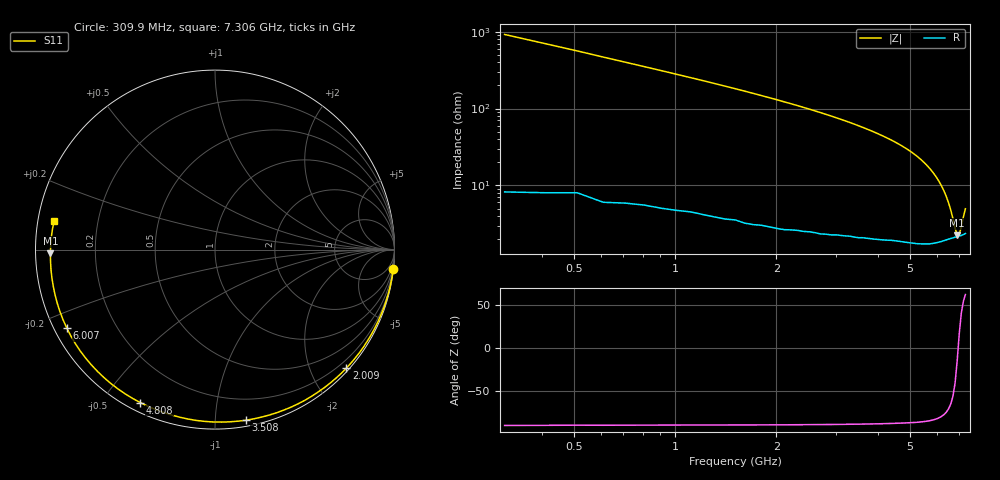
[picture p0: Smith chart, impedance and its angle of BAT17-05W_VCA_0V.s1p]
! Infineon Technologies  Discrete & RF Semiconductors
! BAT17-05W
! VCA = 0 V
! One-Port S-Parameters
# Hz  S  MA  R  50
!f  S11
!Hz  Mag  Ang
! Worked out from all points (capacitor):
!   71 points, 309.9 MHz to 7.306 GHz, reference 50 ohm
!   read as one part to ground: C = 555 fF near 309.9 MHz
!   lowest |Z| = 2.23 ohm at 6.907 GHz (marker M1)
!   series resonance near 6.953 GHz, so ESL is about 940 pH
!   S11 on the Smith chart (normalised r, x): 309.9 MHz: 0, -18; 2.009 GHz: 0.05, -2.59; 3.508 GHz: 0.04, -1.19; 4.808 GHz: 0.04, -0.62; 6.007 GHz: 0.04, -0.25; 7.306 GHz: 0.05, +0.09
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3.0985e8  0.999 -6.2
7.0965e8  0.9964 -14.2
1.2094e9  0.9925 -24.5
1.6092e9  0.9896 -33.1
2.009e9  0.9859 -42.1
2.10895e9  0.9849 -44.5
2.50875e9  0.9797 -54.0
2.70865e9  0.9776 -59.0
3.0085e9  0.9729 -66.7
3.2084e9  0.9701 -71.9
3.50825e9  0.9662 -79.8
3.8081e9  0.9616 -88.0
4.008e9  0.9588 -93.4
4.2079e9  0.9559 -99.0
4.50775e9  0.9517 -107.5
4.70765e9  0.9495 -113.2
4.8076e9  0.9486 -116.1
5.0075e9  0.9468 -121.9
5.2074e9  0.9451 -127.9
5.6072e9  0.9406 -139.9
5.8071e9  0.9379 -146.0
6.007e9  0.9344 -152.2
6.2069e9  0.9305 -158.2
6.50675e9  0.924 -167.2
6.70665e9  0.9206 -173.0
6.90655e9  0.9173 -178.7
7.10645e9  0.9147 175.6
7.30635e9  0.9104 170.0
